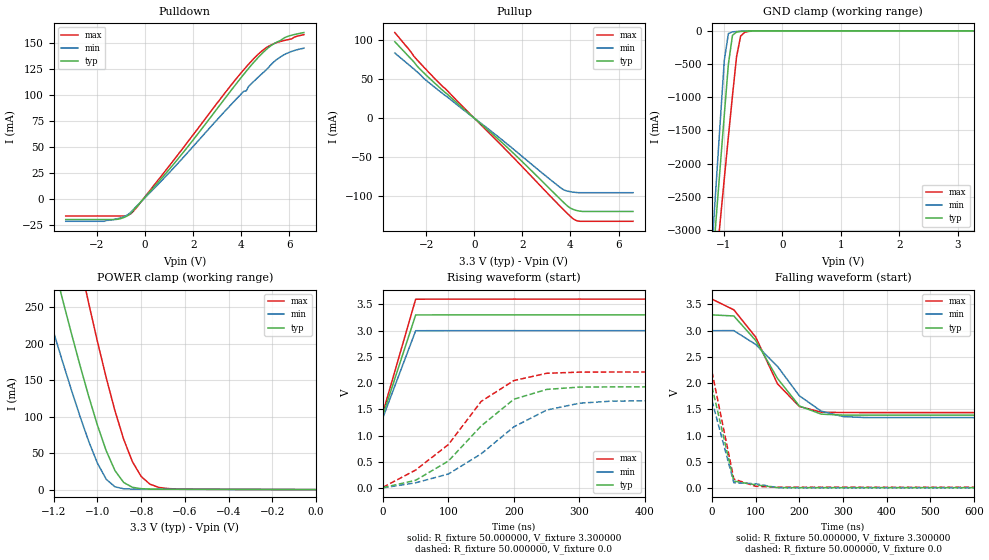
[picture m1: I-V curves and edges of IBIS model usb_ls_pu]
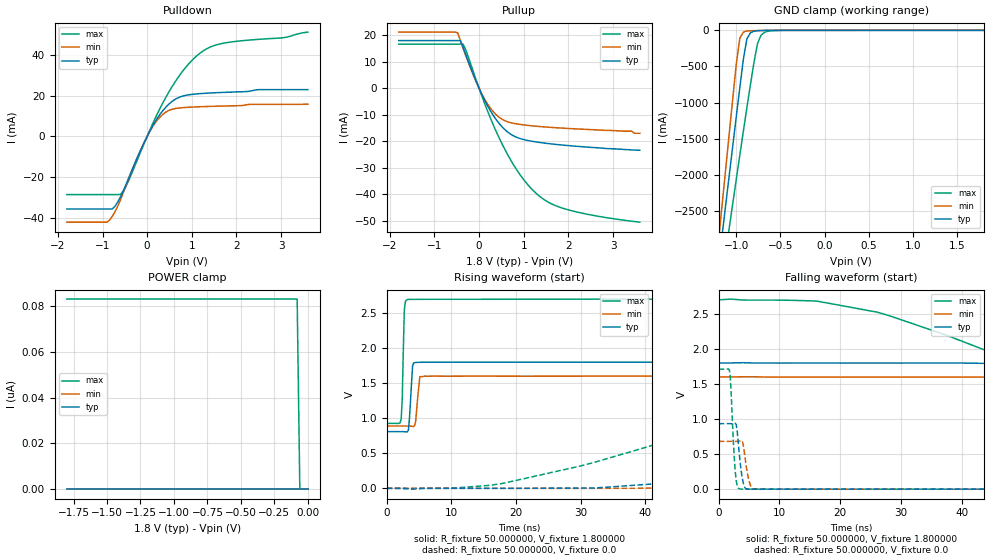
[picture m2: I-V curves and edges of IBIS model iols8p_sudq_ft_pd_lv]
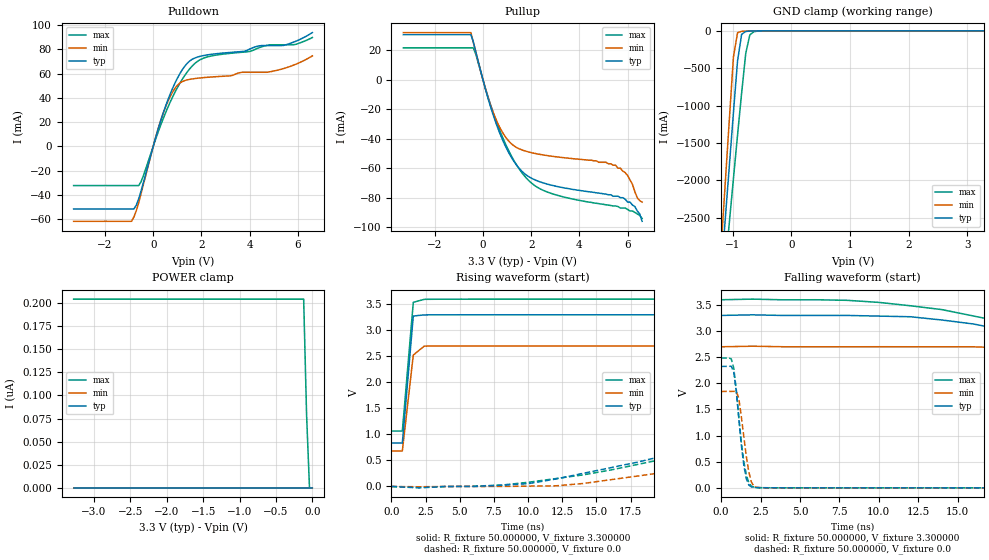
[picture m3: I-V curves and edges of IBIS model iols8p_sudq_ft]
|   IBIS file stm32l431_432_442_ufqfpn32.ibs
[IBIS ver]   4.2
[File name]   stm32l431_432_442_ufqfpn32.ibs
[File Rev]   4.0
[Date]   08-10-2018
[Source]   Data Created at STMicroelectronics
[Notes]   File originated from ELDO simulations.
[Disclaimer]  This information is for modeling purpose only and is
   not guaranteed.
   The information is subject to change without notice.
[Copyright]   Copyright 2018 STMicroelectronics Inc.
|   Component stm32l431_432_442_ufqfpn32
[Component] stm32l431_432_442_ufqfpn32
[Manufacturer] STMicroelectronics
[Package]
| variable   typ   min   max
R_pkg   0.0   0.0   0.0
L_pkg   0.0H   0.0H   0.0H
C_pkg   0.0F   0.0F   0.0F
[Pin]  signal_name   model_name   R_pin   L_pin   C_pin
1 VDD POWER
2 PC14-OSC32_IN io8prog2m25m50m120m_sudq_ft
3 PC15-OSC32_OUT io8prog2m25m50m120m_sudq_ft
4 NRST ioreset_ft_v33
5 VDDA/VREF+ POWER
6 PA0 io8prog2m25m50m120m_sudq_ft
7 PA1 io8prog2m25m50m120m_sudq_ft
8 PA2-WKUP io8prog2m25m50m120m_sudq_ft
9 PA3 io8prog2m25m50m120m_sudq_ft
10 PA4 io8prog2m25m50m120m_sudq_ft
11 PA5 io8prog2m25m50m120m_sudq_ft
12 PA6 io8prog2m25m50m120m_sudq_ft
13 PA7 io8prog2m25m50m120m_sudq_i2c_ft
14 PB0 io8prog2m25m50m120m_sudq_ft
15 PB1 io8prog2m25m50m120m_sudq_ft
16 VSS GND
17 VDD POWER
18 PA8_2 isudqf_ft_v33
19 PA9 io8prog2m25m50m120m_sudq_i2c_ft
20 PA10 io8prog2m25m50m120m_sudq_i2c_ft
21 PA11 io8usblsfs_otg2
22 PA12 io8usblsfs_otg2
23 PA13 io8prog2m25m50m120m_sudq_ft
24 PA14 io8prog2m25m50m120m_sudq_ft
25 PA15 io8prog2m25m50m120m_sudq_ft
26 PB3 io8prog2m25m50m120m_sudq_ft
27 PB4 io8prog2m25m50m120m_sudq_i2c_ft
28 PB5 io8prog2m25m50m120m_sudq_ft
29 PB6 io8prog2m25m50m120m_sudq_i2c_ft
30 PB7 io8prog2m25m50m120m_sudq_i2c_ft
31 PH3/BOOT0 io8prog2m25m50m120m_sudq_ft
32 VSS GND
[Diff Pin]   inv_pin   vdiff   tdelay_typ  tdelay_min  tdelay_max
21 22 200mV   NA   NA   NA
[Model Selector] io8usblsfs_otg2
usb_ls_pd  "USB Low Speed mode - Pull Down"
usb_ls_pu2  "USB Low Speed mode - Pull up 2"
usb_ls_pu  "USB Low Speed mode - Pull up"
usb_fs  "USB Low Speed mode"
usb_fs_pd  "USB Full Speed mode - Pull Down"
usb_fs_pu2  "USB Full Speed mode - Pull up 2"
usb_fs_pu  "USB Full Speed mode - Pull up"
[Model Selector] io8prog2m25m50m120m_sudq_ft
iols8p_sudq_ft_pd_lv  "IO low speed, PD=40kOhm - 1P8V"
iols8p_sudq_ft_pu_lv  "IO low speed, PU=40kOhm - 1P8V"
iols8p_sudq_ft_lv  "IO low speed - 1P8V"
iols8p_sudq_ft_pd  "IO low speed, PD=40kOhm - 3P3V"
iols8p_sudq_ft_pu  "IO low speed, PU=40kOhm - 3P3V"
iols8p_sudq_ft  "IO low speed - 3P3V"
iofs8p_sudq_ft_pd_lv  "IO full speed, PD=40kOhm - 1P8V"
iofs8p_sudq_ft_pu_lv  "IO full speed, PU=40kOhm - 1P8V"
iofs8p_sudq_ft_lv  "IO full speed - 1P8V"
iofs8p_sudq_ft_pd  "IO full speed, PD=40kOhm - 3P3V"
iofs8p_sudq_ft_pu  "IO full speed, PU=40kOhm - 3P3V"
iofs8p_sudq_ft  "IO full speed - 3P3V"
ioms8p_sudq_ft_pd_lv  "IO medium speed, PD=40kOhm - 1P8V"
ioms8p_sudq_ft_pu_lv  "IO medium speed, PU=40kOhm - 1P8V"
ioms8p_sudq_ft_lv  "IO medium speed - 1P8V"
ioms8p_sudq_ft_pd  "IO medium speed, PD=40kOhm - 3P3V"
ioms8p_sudq_ft_pu  "IO medium speed, PU=40kOhm - 3P3V"
ioms8p_sudq_ft  "IO medium speed - 3P3V"
iohs8p_sudq_ft_pd_lv  "IO high speed, PD=40kOhm - 1P8V"
iohs8p_sudq_ft_pu_lv  "IO high speed, PU=40kOhm - 1P8V"
iohs8p_sudq_ft_lv  "IO high speed - 1P8V"
iohs8p_sudq_ft_pd  "IO high speed, PD=40kOhm - 3P3V"
iohs8p_sudq_ft_pu  "IO high speed, PU=40kOhm - 3P3V"
iohs8p_sudq_ft  "IO high speed - 3P3V"
[Model Selector] io8prog2m25m50m120m_sudq_i2c_ft
io8prog_1v8_i2c_pd  "5V Tol GPIO 1.8V range i2c functionality with pull down"
io8prog_1v8_i2c_pu  "5V Tol GPIO 1.8V range i2c functionality with pull up"
io8prog_1v8_i2c  "5V Tol GPIO 1.8V range i2c functionality"
io8prog_3v3_i2c_pd  "5V Tol GPIO 3.3V range i2c functionality with pull down"
io8prog_3v3_i2c_pu  "5V Tol GPIO 3.3V range i2c functionality with pull up"
io8prog_3v3_i2c  "5V Tol GPIO 3.3V range i2c functionality"
io8ls_1v8_pd  "5V Tol GPIO 1.8V range with pd io low speed"
io8ls_1v8_pu  "5V Tol GPIO 1.8V range with pu io low speed"
io8ls_1v8  "5V Tol GPIO 1.8V range io low speed"
io8ls_3v3_pd  "5V Tol GPIO 3.3V range with pd io low speed"
io8ls_3v3_pu  "5V Tol GPIO 3.3V range with pu io low speed"
io8ls_3v3  "5V Tol GPIO 3.3V range io low speed"
io8fs_1v8_pd  "5V Tol GPIO 1.8V range with pd io full speed"
io8fs_1v8_pu  "5V Tol GPIO 1.8V range with pu io full speed"
io8fs_1v8  "5V Tol GPIO 1.8V range io full speed"
io8fs_3v3_pd  "5V Tol GPIO 3.3V range with pd io full speed"
io8fs_3v3_pu  "5V Tol GPIO 3.3V range with pu io full speed"
io8fs_3v3  "5V Tol GPIO 3.3V range io full speed"
io8ms_1v8_pd  "5V Tol GPIO 1.8V range with pd io medium speed"
io8ms_1v8_pu  "5V Tol GPIO 1.8V range with pu io medium speed"
io8ms_1v8  "5V Tol GPIO 1.8V range io medium speed"
io8ms_3v3_pd  "5V Tol GPIO 3.3V range with pd io medium speed"
io8ms_3v3_pu  "5V Tol GPIO 3.3V range with pu io medium speed"
io8ms_3v3  "5V Tol GPIO 3.3V range io medium speed"
io8hs_1v8_pd  "5V Tol GPIO 1.8V range with pd io high speed"
io8hs_1v8_pu  "5V Tol GPIO 1.8V range with pu io high speed"
io8hs_1v8  "5V Tol GPIO 1.8V range io high speed"
io8hs_3v3_pd  "5V Tol GPIO 3.3V range with pd io high speed"
io8hs_3v3_pu  "5V Tol GPIO 3.3V range with pu io high speed"
io8hs_3v3  "5V Tol GPIO 3.3V range io high speed"
[Model Selector] ioreset_ft_v33
ioreset_1v2_pu  "RESET 1.2V range with PU"
ioreset_1v2  "RESET 1.2V range"
ioreset_1v8_pu  "RESET 1.8V range with PU"
ioreset_1v8  "RESET 1.8V range"
ioreset_3v3_pu  "RESET 3.3V range with PU"
ioreset_3v3  "RESET 3.3V range"
[Model Selector] isudqf_ft_v33
in_ft_v33_pd  "GP Input. 5V tolerant. 3.3V range with pull down"
in_ft_v33_pu  "GP Input. 5V tolerant. 3.3V range with pull up"
in_ft_v33  "GP Input. 5V tolerant. 3.3V range"
| Models and submodels in the file (70): usb_ls_pd (I/O), usb_ls_pu2 (I/O), usb_ls_pu (I/O), usb_fs (I/O), usb_fs_pd (I/O), usb_fs_pu2 (I/O), usb_fs_pu (I/O), iols8p_sudq_ft_pd_lv (I/O), iols8p_sudq_ft_pu_lv (I/O), iols8p_sudq_ft_lv (I/O), iols8p_sudq_ft_pd (I/O), iols8p_sudq_ft_pu (I/O), iols8p_sudq_ft (I/O), iofs8p_sudq_ft_pd_lv (I/O), iofs8p_sudq_ft_pu_lv (I/O), iofs8p_sudq_ft_lv (I/O), iofs8p_sudq_ft_pd (I/O), iofs8p_sudq_ft_pu (I/O), iofs8p_sudq_ft (I/O), ioms8p_sudq_ft_pd_lv (I/O), ioms8p_sudq_ft_pu_lv (I/O), ioms8p_sudq_ft_lv (I/O), ioms8p_sudq_ft_pd (I/O), ioms8p_sudq_ft_pu (I/O), ioms8p_sudq_ft (I/O), iohs8p_sudq_ft_pd_lv (I/O), iohs8p_sudq_ft_pu_lv (I/O), iohs8p_sudq_ft_lv (I/O), iohs8p_sudq_ft_pd (I/O), iohs8p_sudq_ft_pu (I/O), iohs8p_sudq_ft (I/O), io8prog_1v8_i2c_pd (I/O), io8prog_1v8_i2c_pu (I/O), io8prog_1v8_i2c (I/O), io8prog_3v3_i2c_pd (I/O), io8prog_3v3_i2c_pu (I/O), io8prog_3v3_i2c (I/O), io8ls_1v8_pd (I/O), io8ls_1v8_pu (I/O), io8ls_1v8 (I/O), io8ls_3v3_pd (I/O), io8ls_3v3_pu (I/O), io8ls_3v3 (I/O), io8fs_1v8_pd (I/O), io8fs_1v8_pu (I/O), io8fs_1v8 (I/O), io8fs_3v3_pd (I/O), io8fs_3v3_pu (I/O), io8fs_3v3 (I/O), io8ms_1v8_pd (I/O), io8ms_1v8_pu (I/O), io8ms_1v8 (I/O), io8ms_3v3_pd (I/O), io8ms_3v3_pu (I/O), io8ms_3v3 (I/O), io8hs_1v8_pd (I/O), io8hs_1v8_pu (I/O), io8hs_1v8 (I/O), io8hs_3v3_pd (I/O), io8hs_3v3_pu (I/O), io8hs_3v3 (I/O), ioreset_1v2_pu (I/O_open_drain), ioreset_1v2 (I/O_open_drain), ioreset_1v8_pu (I/O_open_drain), ioreset_1v8 (I/O_open_drain), ioreset_3v3_pu (I/O_open_drain), ioreset_3v3 (I/O_open_drain), in_ft_v33_pd (Input), in_ft_v33_pu (Input), in_ft_v33 (Input)
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|   Model usb_ls_pu
[Model]  usb_ls_pu
Model_type I/O
Polarity   Non-Inverting
Enable   Active-Low
Vinl =   0.990000V
Vinh =   2.310000V
Vmeas =  1.650000V
Cref =   40.000000pF
Rref =   100.000000M
Vref =   0.0V
C_comp   6.430500pF   6.217500pF   6.600000pF
[Temperature Range]   25.000000   -40.000000   0.125000k
[Pullup Reference]   3.300000V   3.000000V   3.600000V
[Pulldown Reference]   0.0V   0.0V   0.0V
[POWER Clamp Reference]   3.300000V   3.000000V   3.600000V
[GND Clamp Reference]   0.0V   0.0V   0.0V
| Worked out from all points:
|   slope of the pulldown table from 0 to 0.495 V, typ, clamps not added: 38.1 ohm
|   slope of the pullup table from 0 to 0.495 V, typ, clamps not added: 37.4 ohm
|   GND clamp passes 1 mA (typ) near -0.52 V on its own axis
|   POWER clamp passes 1 mA (typ) near -0.78 V on its own axis
|   rising waveform, R_fixture 50.000000, V_fixture 3.300000: 20-80 % time 30ns typ, 30ns min, 30ns max; typ from 1.39 V to 3.3 V
|   rising waveform, R_fixture 50.000000, V_fixture 0.0: 20-80 % time 102ns typ, 117ns min, 104ns max; typ from 0.011 V to 1.93 V
|   falling waveform, R_fixture 50.000000, V_fixture 3.300000: 20-80 % time 91.6ns typ, 106ns min, 91.4ns max; typ from 3.3 V to 1.39 V
|   falling waveform, R_fixture 50.000000, V_fixture 0.0: 20-80 % time 32.1ns typ, 31.9ns min, 32.3ns max; typ from 1.93 V to 0.011 V
[Pulldown]
|Voltage   I(typ)   I(min)   I(max)
-3.3V     -19.3mA    -21mA      -15.9mA
-1.7V     -19.3mA    -21mA      -15.9mA
-1V       -18.3mA    -17.45mA   -15.9mA
-600mV    -13.35mA   -12.31mA   -13.78mA
1.5V      42.83mA    38.19mA    47.12mA
3.5V      102.6mA    89.39mA    107.7mA
4.1V      120.3mA    104mA      124.7mA
4.2V      123.1mA    104.3mA    127.4mA
4.5V      131.4mA    113.1mA    135mA
5V        143.4mA    123.9mA    145.3mA
5.6V      152.5mA    136.6mA    151.7mA
6.6V      160.4mA    145.4mA    158.4mA
[Pullup]
|Voltage   I(typ)   I(min)   I(max)
-3.3V     97.9mA     83.5mA     109.7mA
-2.7V     78.3mA     67.9mA     87.6mA
-2.5V     71.7mA     62.7mA     79mA
-2.3V     64.2mA     57.3mA     72.2mA
-1.9V     52.3mA     46mA       59mA
1.3V      -35.49mA   -31.42mA   -40.17mA
3.5V      -101.6mA   -87.13mA   -110.8mA
3.8V      -110.6mA   -92.87mA   -120.1mA
4.1V      -116.9mA   -94.9mA    -128.7mA
4.2V      -118mA     -95.2mA    -130.7mA
4.4V      -119.3mA   -95.6mA    -132.3mA
6.6V      -119.6mA   -95.6mA    -132.3mA
[GND_clamp]
|Voltage   I(typ)   I(min)   I(max)
-3.3V     -10A       -9.932A    -9.409A
-1.2V     -3.625A    -3.264A    -4.165A
-1.13V    -2.833A    -2.317A    -3.515A
-1.06V    -2.046A    -1.375A    -2.868A
-990mV    -1.266A    -445.1mA   -2.226A
-920mV    -503.5mA   -41.44mA   -1.593A
-850mV    -68.23mA   -15.9mA    -976.3mA
-780mV    -18.22mA   -9.77mA    -388mA
-710mV    -9.477mA   -5.248mA   -77.72mA
-640mV    -5.151mA   -2.055mA   -21.58mA
-360mV    -11.68uA   -97.01nA   -423.1uA
3.28V     0A         0A         0A
[POWER_clamp]
|Voltage   I(typ)   I(min)   I(max)
-3.28V    2.966A     2.441A     3.783A
-1.28V    403.2mA    295.1mA    599.7mA
-1.24V    354.9mA    254.5mA    540mA
-1.16V    260.4mA    175.2mA    422.6mA
-1.08V    170mA      100.2mA    309.3mA
-1.04V    127.5mA    65.91mA    254.8mA
-960mV    53.13mA    14.16mA    153.1mA
-920mV    26.04mA    3.794mA    108mA
-840mV    3.136mA    699.7uA    38.18mA
-760mV    764.4uA    550.2uA    7.467mA
-640mV    519.6uA    443.3uA    886.3uA
0V        0A         0A         68.46nA
[Ramp]
| variable   typ   min   max
dV/dt_r  1.15139/94.10038n   0.99370/0.11031u   1.31673/96.68694n
dV/dt_f  1.14564/83.84790n   0.99318/98.09276n   1.29606/85.64049n
R_load = 50.000000
[Rising Waveform]
R_fixture= 50.000000
V_fixture= 3.300000
V_fixture_min= 3.000000
V_fixture_max= 3.600000
|time   V(typ)   V(min)   V(max)
0s        1.391V     1.344V     1.44V
50.05ns   3.299V     2.999V     3.599V
150.2ns   3.3V       3V         3.6V
4.955us   3.3V       3V         3.6V
[Rising Waveform]
R_fixture= 50.000000
V_fixture= 0.0
V_fixture_min= 0.0
V_fixture_max= 0.0
|time   V(typ)   V(min)   V(max)
0s        10.62mV    6.933mV    18.04mV
50.05ns   151.5mV    103.5mV    346.3mV
100.1ns   517.9mV    271mV      831.9mV
150.2ns   1.186V     654.7mV    1.653V
200.2ns   1.695V     1.169V     2.05V
250.2ns   1.881V     1.488V     2.188V
300.3ns   1.926V     1.618V     2.21V
350.3ns   1.929V     1.659V     2.212V
400.4ns   1.929V     1.663V     2.212V
4.955us   1.93V      1.663V     2.212V
[Falling Waveform]
R_fixture= 50.000000
V_fixture= 3.300000
V_fixture_min= 3.000000
V_fixture_max= 3.600000
|time   V(typ)   V(min)   V(max)
0s        3.3V       3V         3.6V
50.05ns   3.279V     3V         3.396V
100.1ns   2.812V     2.737V     2.878V
150.2ns   2.089V     2.319V     1.986V
200.2ns   1.565V     1.76V      1.556V
250.2ns   1.411V     1.468V     1.448V
300.3ns   1.392V     1.364V     1.441V
350.3ns   1.391V     1.345V     1.44V
4.955us   1.391V     1.344V     1.44V
[Falling Waveform]
R_fixture= 50.000000
V_fixture= 0.0
V_fixture_min= 0.0
V_fixture_max= 0.0
|time   V(typ)   V(min)   V(max)
0s        1.93V      1.663V     2.212V
50.05ns   135.1mV    104.8mV    173.5mV
100.1ns   63.95mV    85.05mV    36.51mV
150.2ns   12.05mV    10.39mV    19.04mV
200.2ns   10.63mV    7.03mV     18.27mV
4.955us   10.62mV    6.933mV    18.04mV
|   Model iols8p_sudq_ft_pd_lv
[Model]  iols8p_sudq_ft_pd_lv
Model_type I/O
Polarity   Non-Inverting
Enable   Active-Low
Vinl =   0.540000V
Vinh =   1.260000V
Vmeas =  0.900000V
Cref =   50.000000pF
Rref =   100.000000M
Vref =   0.0V
C_comp   1.984800pF   1.899400pF   2.077500pF
[Temperature Range]   25.000000   -40.000000   0.125000k
[Pullup Reference]   1.800000V   1.600000V   2.700000V
[Pulldown Reference]   0.0V   0.0V   0.0V
[POWER Clamp Reference]   1.800000V   1.600000V   2.700000V
[GND Clamp Reference]   0.0V   0.0V   0.0V
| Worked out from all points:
|   slope of the pulldown table from 0 to 0.27 V, typ, clamps not added: 26.4 ohm
|   slope of the pullup table from 0 to 0.27 V, typ, clamps not added: 30.1 ohm
|   GND clamp passes 1 mA (typ) near -0.60 V on its own axis
|   rising waveform, R_fixture 50.000000, V_fixture 1.800000: 20-80 % time 379ps typ, 423ps min, 266ps max; typ from 0.808 V to 1.8 V
|   rising waveform, R_fixture 50.000000, V_fixture 0.0: 20-80 % time 67.1ns typ, 74.3ns min, 45.1ns max; typ from 0 V to 0.933 V
|   falling waveform, R_fixture 50.000000, V_fixture 1.800000: 20-80 % time 73ns typ, 83ns min, 37.6ns max; typ from 1.8 V to 0.808 V
|   falling waveform, R_fixture 50.000000, V_fixture 0.0: 20-80 % time 692ps typ, 757ps min, 595ps max; typ from 0.933 V to 0 V
[Pulldown]
|Voltage   I(typ)   I(min)   I(max)
-1.8V     -35.64mA   -42.15mA   -28.59mA
-900mV    -35.64mA   -42.15mA   -28.59mA
-780mV    -35.64mA   -39.2mA    -28.59mA
-600mV    -29.83mA   -31.31mA   -28.52mA
-420mV    -20.8mA    -21.07mA   -21.98mA
60mV      2.604mA    2.459mA    3.062mA
240mV     9.303mA    8.31mA     11.61mA
480mV     15.67mA    12.64mA    21.52mA
720mV     19.18mA    13.91mA    29.74mA
960mV     20.46mA    14.3mA     36.27mA
1.44V     21.29mA    14.7mA     44.06mA
3.6V      22.91mA    15.79mA    51.15mA
[Pullup]
|Voltage   I(typ)   I(min)   I(max)
-1.8V     18.05mA    21.25mA    16.71mA
-540mV    18.05mA    21.25mA    16.71mA
-480mV    18.05mA    20.95mA    16.71mA
-420mV    18.05mA    18.11mA    16.71mA
-360mV    15.57mA    15.21mA    16.71mA
60mV      -2.268mA   -2.095mA   -2.822mA
360mV     -11.31mA   -9.605mA   -15.45mA
600mV     -15.96mA   -12.42mA   -23.82mA
840mV     -18.52mA   -13.44mA   -30.72mA
1.38V     -20.52mA   -14.47mA   -41.14mA
2.1V      -21.8mA    -15.27mA   -46.39mA
3.6V      -23.4mA    -17mA      -50.6mA
[GND_clamp]
|Voltage   I(typ)   I(min)   I(max)
-1.8V     -9.477A    -9.805A    -9.016A
-1.2V     -3.243A    -2.9A      -3.759A
-1.16V    -2.83A     -2.409A    -3.417A
-1.12V    -2.418A    -1.919A    -3.076A
-1.08V    -2.008A    -1.431A    -2.736A
-1V       -1.194A    -466mA     -2.061A
-960mV    -792.8mA   -108.7mA   -1.727A
-920mV    -402mA     -24.36mA   -1.396A
-880mV    -117.8mA   -9.2mA     -1.071A
-760mV    -5.909mA   -2.892mA   -183.8mA
-680mV    -2.407mA   -1.111mA   -26.63mA
1.8V      47.61uA    33.87uA    60.56uA
[POWER_clamp]
|Voltage   I(typ)   I(min)   I(max)
-1.8V     0A         0A         83.17nA
-80mV     0A         0A         83.17nA
-60mV     0A         0A         0A
0V        0A         0A         0A
[Ramp]
| variable   typ   min   max
dV/dt_r  0.56030/67.04771n   0.40892/74.21097n   1.02690/44.96516n
dV/dt_f  0.59467/72.90760n   0.42644/82.87002n   1.06358/37.57082n
R_load = 50.000000
[Rising Waveform]
R_fixture= 50.000000
V_fixture= 1.800000
V_fixture_min= 1.600000
V_fixture_max= 2.700000
|time   V(typ)   V(min)   V(max)
0s        807.9mV    888.7mV    926.1mV
2.242ns   808mV      888.7mV    991.1mV
2.402ns   807.9mV    888.7mV    1.267V
2.723ns   807.2mV    888.7mV    2.536V
3.203ns   805.4mV    888.8mV    2.691V
4.004ns   1.746V     882.7mV    2.695V
4.484ns   1.794V     959.1mV    2.695V
5.125ns   1.797V     1.592V     2.695V
5.766ns   1.798V     1.599V     2.695V
79.76ns   1.799V     1.599V     2.699V
[Rising Waveform]
R_fixture= 50.000000
V_fixture= 0.0
V_fixture_min= 0.0
V_fixture_max= 0.0
|time   V(typ)   V(min)   V(max)
0s        2.012nV    1.787nV    174.5nV
18.02ns   -344.8uV   -50.09uV   71.38mV
32.03ns   3.824mV    -26.62uV   368.3mV
62.06ns   204.9mV    72.66mV    1.126V
80.08ns   382mV      156.4mV    1.425V
98.1ns    559.2mV    285.8mV    1.568V
138.1ns   787.9mV    493.3mV    1.675V
174.2ns   872mV      629.9mV    1.696V
240.2ns   928mV      674mV      1.71V
997ns     933.5mV    681.5mV    1.711V
[Falling Waveform]
R_fixture= 50.000000
V_fixture= 1.800000
V_fixture_min= 1.600000
V_fixture_max= 2.700000
|time   V(typ)   V(min)   V(max)
0s        1.799V     1.599V     2.699V
16.02ns   1.798V     1.598V     2.682V
26.03ns   1.798V     1.598V     2.524V
64.06ns   1.735V     1.598V     1.385V
76.08ns   1.645V     1.598V     1.183V
118.1ns   1.274V     1.513V     993.2mV
162.2ns   968.9mV    1.273V     950.7mV
214.2ns   864.7mV    1.023V     933.3mV
300.3ns   821mV      917.9mV    926.2mV
997ns     807.9mV    888.7mV    926.1mV
[Falling Waveform]
R_fixture= 50.000000
V_fixture= 0.0
V_fixture_min= 0.0
V_fixture_max= 0.0
|time   V(typ)   V(min)   V(max)
0s        933.5mV    681.5mV    1.711V
1.762ns   933.5mV    681.5mV    1.701V
1.922ns   933.4mV    681.5mV    1.598V
2.723ns   939.8mV    681.4mV    260.7mV
3.043ns   837.1mV    681mV      50.52mV
3.524ns   395.1mV    687.2mV    3.387mV
4.324ns   18.45mV    464.2mV    311.9uV
5.125ns   915.5uV    79.36mV    150.2uV
5.766ns   240.1uV    2.922mV    125.4uV
79.76ns   2.012nV    1.787nV    174.5nV
|   Model iols8p_sudq_ft
[Model]  iols8p_sudq_ft
Model_type I/O
Polarity   Non-Inverting
Enable   Active-Low
Vinl =   0.990000V
Vinh =   2.310000V
Vmeas =  1.650000V
Cref =   50.000000pF
Rref =   100.000000M
Vref =   0.0V
C_comp   2.036400pF   1.984000pF   2.082300pF
[Temperature Range]   25.000000   -40.000000   0.125000k
[Pullup Reference]   3.300000V   2.700000V   3.600000V
[Pulldown Reference]   0.0V   0.0V   0.0V
[POWER Clamp Reference]   3.300000V   2.700000V   3.600000V
[GND Clamp Reference]   0.0V   0.0V   0.0V
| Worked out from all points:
|   slope of the pulldown table from 0 to 0.495 V, typ, clamps not added: 15.4 ohm
|   slope of the pullup table from 0 to 0.495 V, typ, clamps not added: 18.1 ohm
|   GND clamp passes 1 mA (typ) near -0.60 V on its own axis
|   rising waveform, R_fixture 50.000000, V_fixture 3.300000: 20-80 % time 485ps typ, 526ps min, 493ps max; typ from 0.835 V to 3.3 V
|   rising waveform, R_fixture 50.000000, V_fixture 0.0: 20-80 % time 24.3ns typ, 26.2ns min, 30.7ns max; typ from 0 V to 2.33 V
|   falling waveform, R_fixture 50.000000, V_fixture 3.300000: 20-80 % time 21.2ns typ, 25.3ns min, 23.8ns max; typ from 3.3 V to 0.835 V
|   falling waveform, R_fixture 50.000000, V_fixture 0.0: 20-80 % time 470ps typ, 493ps min, 524ps max; typ from 2.33 V to 0 V
[Pulldown]
|Voltage   I(typ)   I(min)   I(max)
-3.3V     -51.63mA   -61.84mA   -32.32mA
-900mV    -51.63mA   -61.84mA   -32.32mA
-800mV    -51.63mA   -58.24mA   -32.32mA
-500mV    -36.51mA   -38.71mA   -28.96mA
400mV     26.66mA    26.58mA    22.18mA
800mV     47.72mA    44.74mA    40.6mA
1.1V      59.79mA    52.18mA    51.93mA
1.5V      70.22mA    55.24mA    63.66mA
2.1V      74.97mA    56.75mA    72.88mA
4.9V      83.19mA    61.75mA    83.83mA
5.9V      86.64mA    67.67mA    84.15mA
6.6V      93.9mA     74.68mA    89.84mA
[Pullup]
|Voltage   I(typ)   I(min)   I(max)
-3.3V     30.51mA    31.92mA    21.54mA
-500mV    30.51mA    31.92mA    21.54mA
-300mV    19.24mA    18.93mA    17.46mA
500mV     -27.53mA   -25.31mA   -25.83mA
1V        -47.29mA   -40.29mA   -45.86mA
1.5V      -60.05mA   -46.83mA   -60.43mA
2V        -66.7mA    -49.43mA   -69.91mA
2.7V      -70.92mA   -51.53mA   -76.32mA
5.5V      -79mA      -58mA      -85.6mA
6V        -83mA      -65mA      -88mA
6.3V      -86mA      -76mA      -90mA
6.6V      -96mA      -83mA      -94mA
[GND_clamp]
|Voltage   I(typ)   I(min)   I(max)
-3.3V     -9.812A    -9.822A    -9.937A
-1.2V     -3.251A    -2.905A    -3.763A
-1.13V    -2.527A    -2.046A    -3.165A
-1.06V    -1.808A    -1.191A    -2.57A
-990mV    -1.097A    -352.6mA   -1.979A
-920mV    -404.2mA   -25.08mA   -1.398A
-850mV    -46.53mA   -6.503mA   -832.3mA
-780mV    -8.496mA   -3.578mA   -302.4mA
-710mV    -3.383mA   -1.716mA   -53.8mA
-640mV    -1.589mA   -553.8uA   -11.72mA
-360mV    -2.023uA   0A         -84.67uA
3.28V     0A         0A         0A
[POWER_clamp]
|Voltage   I(typ)   I(min)   I(max)
-3.28V    0A         0A         204.1nA
-120mV    0A         0A         204.1nA
-80mV     0A         0A         79.47nA
-40mV     0A         0A         0A
0V        0A         0A         0A
[Ramp]
| variable   typ   min   max
dV/dt_r  1.39458/24.30631n   1.10718/26.01052n   1.49064/30.64439n
dV/dt_f  1.47898/21.10039n   1.21001/25.29034n   1.52118/23.73506n
R_load = 50.000000
[Rising Waveform]
R_fixture= 50.000000
V_fixture= 3.300000
V_fixture_min= 2.700000
V_fixture_max= 3.600000
|time   V(typ)   V(min)   V(max)
0s        835mV      683.3mV    1.065V
800.8ps   835mV      682.8mV    1.066V
1.602ns   3.275V     2.526V     3.539V
2.402ns   3.297V     2.697V     3.596V
79.28ns   3.3V       2.7V       3.6V
[Rising Waveform]
R_fixture= 50.000000
V_fixture= 0.0
V_fixture_min= 0.0
V_fixture_max= 0.0
|time   V(typ)   V(min)   V(max)
0s        2.638nV    1.902nV    194.7nV
10.01ns   54.11mV    6.367mV    80.17mV
14.01ns   251.2mV    56.8mV     222.1mV
22.02ns   729.9mV    344.9mV    641.4mV
34.03ns   1.485V     930.1mV    1.306V
46.05ns   1.977V     1.4V       1.854V
58.06ns   2.168V     1.658V     2.171V
90.09ns   2.29V      1.815V     2.411V
196.2ns   2.326V     1.845V     2.486V
997ns     2.325V     1.845V     2.485V
[Falling Waveform]
R_fixture= 50.000000
V_fixture= 3.300000
V_fixture_min= 2.700000
V_fixture_max= 3.600000
|time   V(typ)   V(min)   V(max)
0s        3.3V       2.7V       3.6V
8.008ns   3.3V       2.7V       3.589V
16.02ns   3.136V     2.699V     3.288V
24.02ns   2.582V     2.575V     2.744V
36.04ns   1.686V     2.036V     1.931V
46.05ns   1.182V     1.509V     1.459V
60.06ns   976.9mV    965.9mV    1.242V
82.08ns   893mV      778.9mV    1.135V
188.2ns   836mV      683.7mV    1.067V
997ns     835mV      683.3mV    1.065V
[Falling Waveform]
R_fixture= 50.000000
V_fixture= 0.0
V_fixture_min= 0.0
V_fixture_max= 0.0
|time   V(typ)   V(min)   V(max)
0s        2.325V     1.845V     2.485V
640.6ps   2.328V     1.845V     2.47V
800.8ps   2.22V      1.847V     2.295V
961ps     1.849V     1.847V     1.879V
1.121ns   1.334V     1.716V     1.353V
1.281ns   821.7mV    1.365V     873.6mV
1.602ns   169.7mV    594.7mV    244.4mV
1.922ns   18.59mV    109.1mV    33.22mV
2.242ns   4.856mV    12mV       7.295mV
79.76ns   2.638nV    1.902nV    194.7nV
